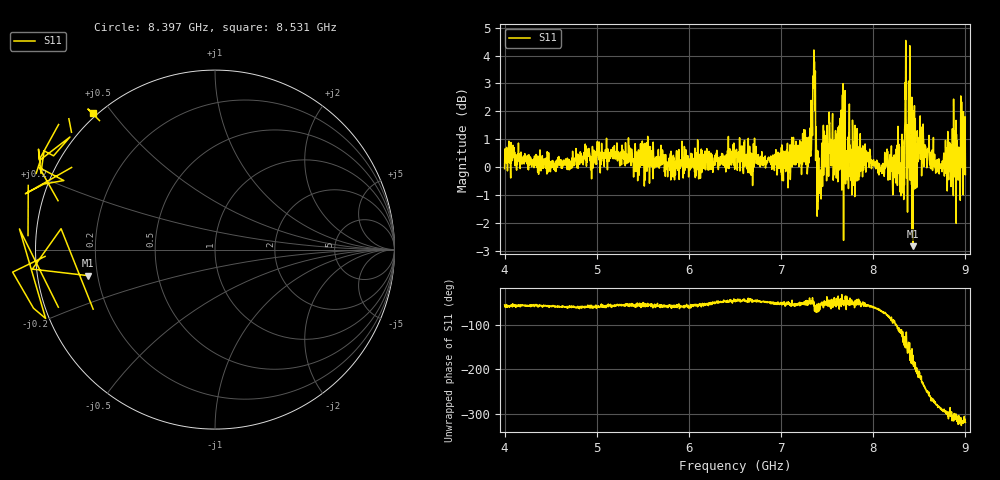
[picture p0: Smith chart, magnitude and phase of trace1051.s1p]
! Created with skrf 1.8.0 (http://scikit-rf.org).
# Hz S RI R 50.0
!freq ReS11 ImS11
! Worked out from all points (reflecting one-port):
!   1601 points, 4 GHz to 9 GHz, reference 50 ohm
!   lowest |S11| = -2.8 dB at 8.431 GHz (marker M1), VSWR 6.19, Z = 8.16 - j4.95 ohm
!   phase of S11 starts at -56 deg and turns -263 deg over the sweep
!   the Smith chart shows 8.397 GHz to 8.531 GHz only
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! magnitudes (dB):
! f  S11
! 4 GHz  -0.1
! 4.625 GHz  0.0
! 5.25 GHz  0.0
! 5.875 GHz  0.2
! 6.5 GHz  0.0
! 7.125 GHz  0.2
! 7.297 GHz  0.4
! 7.316 GHz  0.5
! 7.347 GHz  3.3
! 7.369 GHz  3.2
! 7.4 GHz  0.6
! 7.412 GHz  -0.3
! 7.538 GHz  1.0
! 7.591 GHz  1.3
! 7.669 GHz  0.7
! 7.75 GHz  0.8
! 8.097 GHz  0.0
! 8.259 GHz  0.8
! 8.312 GHz  1.2
! 8.334 GHz  0.7
! 8.375 GHz  0.3
! 8.431 GHz  -2.8
! 8.522 GHz  1.4
! 8.722 GHz  0.0
! 8.872 GHz  2.4
! 8.922 GHz  -0.5
! 8.972 GHz  0.2
! 9 GHz  -0.3
